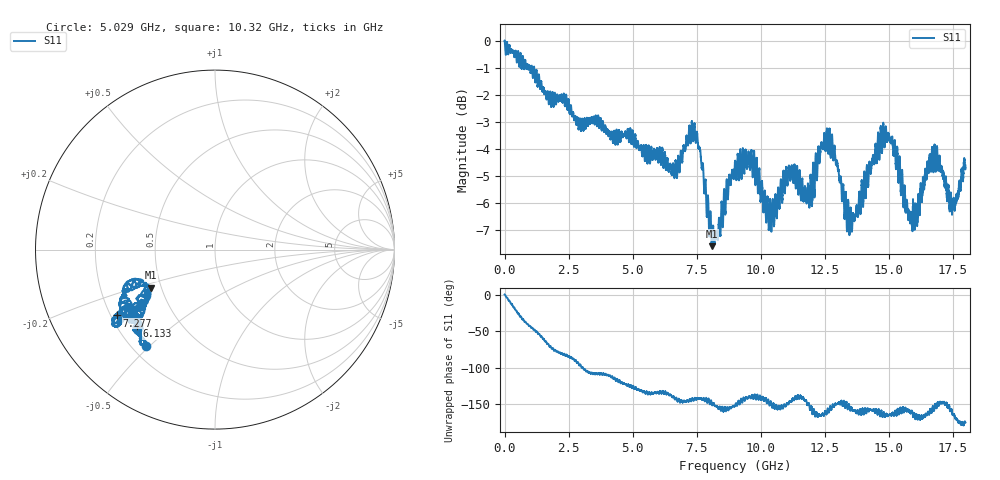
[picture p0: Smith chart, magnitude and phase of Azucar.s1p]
! FILETYPE CSV
! VERSION 3.0	1
! TIMESTAMP Wednesday	 08 November 2023 22:41:24
! TIMEZONE (UTC-03:00) Buenos Aires
! NAME Keysight Technologies
! MODEL N9917A
! SERIAL MY56072049
! FIRMWARE_VERSION A.12.46
! VF	 1.000
! Media	 Coax
! IF_BW	 10000
# Hz S RI R 50
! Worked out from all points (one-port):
!   10001 points, 30 kHz to 18 GHz, reference 50 ohm
!   lowest |S11| = -7.6 dB at 8.095 GHz (marker M1), VSWR 2.43, Z = 21.8 - j11.3 ohm
!   |S11| at or under -10 dB: nowhere
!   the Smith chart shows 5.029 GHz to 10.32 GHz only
!   S11 on the Smith chart (normalised r, x): 5.029 GHz: 0.26, -0.49; 6.133 GHz: 0.28, -0.38; 7.277 GHz: 0.22, -0.29; 10.32 GHz: 0.41, -0.24
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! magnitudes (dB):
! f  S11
! 30 kHz  0.0
! 1.755 GHz  -2.1
! 2.25 GHz  -2.2
! 2.918 GHz  -3.1
! 4.5 GHz  -3.6
! 5.029 GHz  -3.6
! 6.133 GHz  -4.3
! 6.75 GHz  -4.9
! 7.277 GHz  -3.6
! 7.58 GHz  -3.9
! 8.095 GHz  -7.6
! 8.264 GHz  -7.1
! 8.732 GHz  -5.7
! 9 GHz  -4.5
! 9.686 GHz  -5.0
! 10.32 GHz  -7.0
! 11.25 GHz  -5.0
! 11.84 GHz  -5.4
! 12.32 GHz  -4.3
! 12.64 GHz  -4.2
! 13.5 GHz  -6.5
! 14.85 GHz  -3.8
! 15.18 GHz  -4.1
! 15.75 GHz  -6.4
! 16.07 GHz  -6.1
! 16.75 GHz  -4.7
! 17.54 GHz  -5.9
! 18 GHz  -4.6
